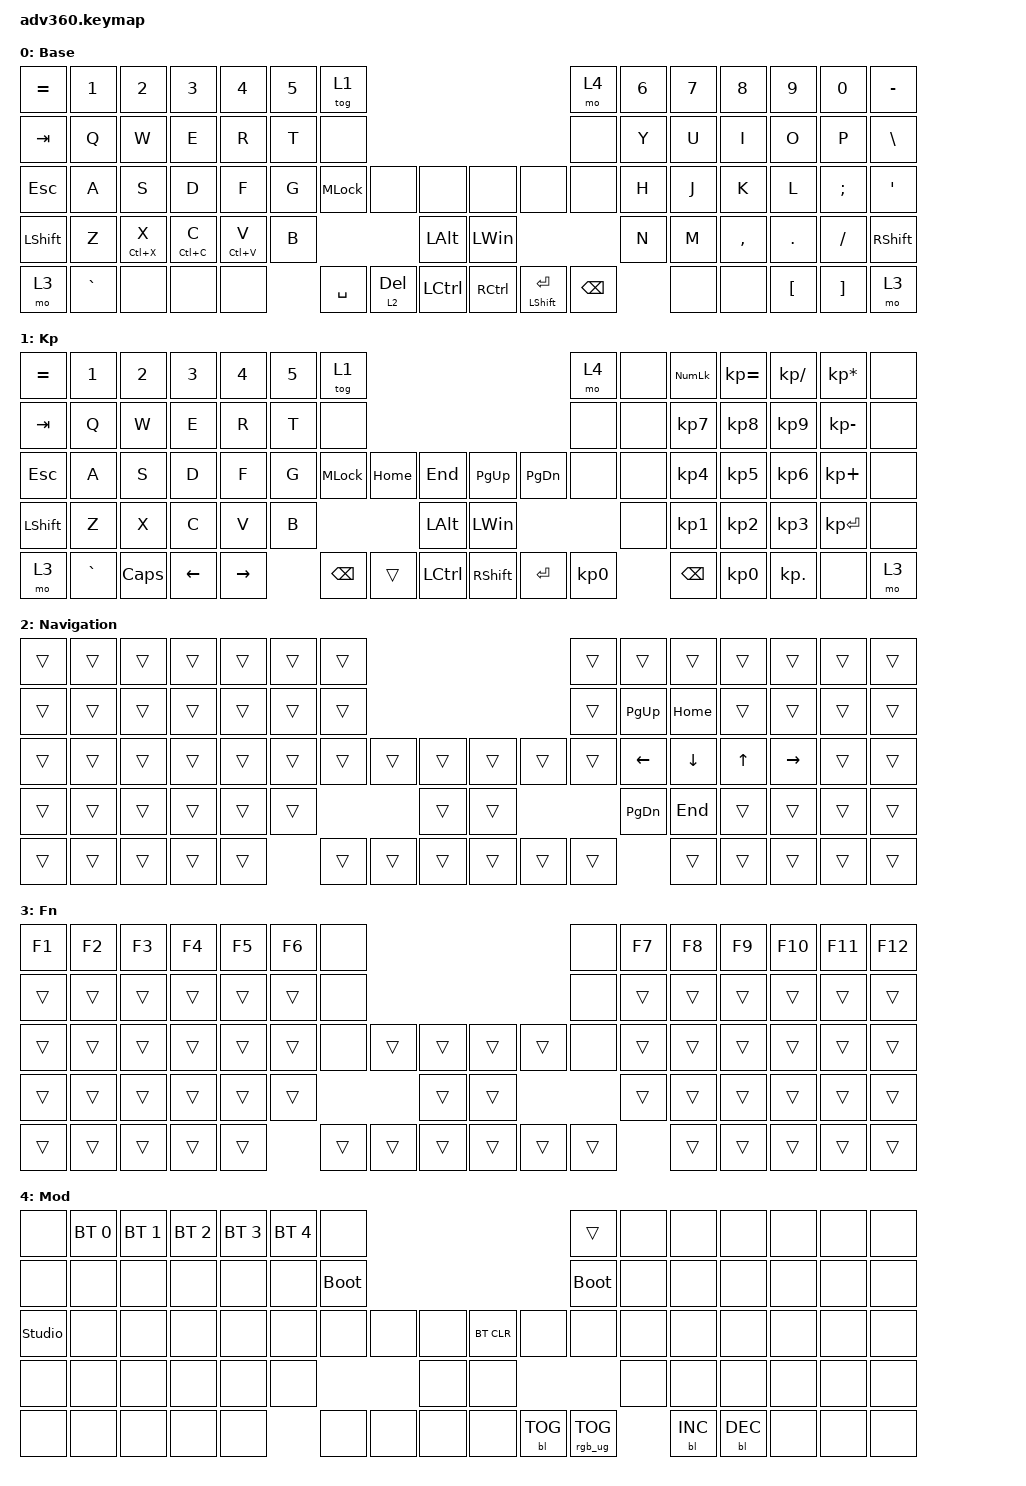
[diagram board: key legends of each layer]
#include <dt-bindings/zmk/stp.h>
#include <behaviors.dtsi>
#include <dt-bindings/zmk/backlight.h>
#include <dt-bindings/zmk/bt.h>
#include <dt-bindings/zmk/keys.h>
#include <dt-bindings/zmk/rgb.h>

/ {
    behaviors {
        #include "macros.dtsi"
      #include "version.dtsi"

        hm: homerow_mods {
            compatible = "zmk,behavior-hold-tap";
            label = "HOMEROW_MODS";
            #binding-cells = <2>;
            tapping-term-ms = <200>;
            quick_tap_ms = <175>;
            flavor = "tap-preferred";
            bindings = <&kp>, <&kp>;
        };
    };

    macros {
        MLock: Lock {
            compatible = "zmk,behavior-macro";
            #binding-cells = <0>;
            bindings =
                <&macro_press>,
                <&kp LWIN &kp LEFT_SHIFT &kp Z>,
                <&macro_release>,
                <&kp LEFT_WIN &kp LEFT_SHIFT &kp Z>;

            label = "LOCK";
        };
    };

    keymap {
        compatible = "zmk,keymap";

        default_layer {
            display-name = "Base";
            bindings = <
&kp EQUAL   &kp N1     &kp N2       &kp N3       &kp N4       &kp N5  &tog 1                                                                      &mo 4          &kp N6  &kp N7  &kp N8     &kp N9    &kp N0    &kp MINUS
&kp TAB     &kp Q      &kp W        &kp E        &kp R        &kp T   &none                                                                       &none          &kp Y   &kp U   &kp I      &kp O     &kp P     &kp BSLH
&kp ESC     &kp A      &kp S        &kp D        &kp F        &kp G   &MLock     &none         &none             &none      &none                 &none          &kp H   &kp J   &kp K      &kp L     &kp SEMI  &kp SQT
&kp LSHIFT  &kp Z      &hm LC(X) X  &hm LC(C) C  &hm LC(V) V  &kp B                            &kp LEFT_ALT      &kp LWIN                                        &kp N   &kp M   &kp COMMA  &kp DOT   &kp FSLH  &kp RSHIFT
&mo 3       &kp GRAVE  &none        &none        &none                &kp SPACE  &lt 2 DELETE  &kp LCTRL         &kp RCTRL  &mt LEFT_SHIFT ENTER  &kp BACKSPACE          &none   &none      &kp LBKT  &kp RBKT  &mo 3
            >;
        };

        keypad {
            display-name = "Kp";
            bindings = <
&kp EQUAL  &kp N1     &kp N2    &kp N3    &kp N4     &kp N5  &tog 1                                                           &mo 4      &none  &kp KP_NUM     &kp KP_EQUAL  &kp KP_DIVIDE  &kp KP_MULTIPLY  &none
&kp TAB    &kp Q      &kp W     &kp E     &kp R      &kp T   &none                                                            &none      &none  &kp KP_N7      &kp KP_N8     &kp KP_N9      &kp KP_MINUS     &none
&kp ESC    &kp A      &kp S     &kp D     &kp F      &kp G   &MLock    &kp HOME  &kp END           &kp PG_UP   &kp PAGE_DOWN  &none      &none  &kp KP_N4      &kp KP_N5     &kp KP_N6      &kp KP_PLUS      &none
&kp LSHFT  &kp Z      &kp X     &kp C     &kp V      &kp B                       &kp LEFT_ALT      &kp LWIN                              &none  &kp KP_N1      &kp KP_N2     &kp KP_N3      &kp KP_ENTER     &none
&mo 3      &kp GRAVE  &kp CAPS  &kp LEFT  &kp RIGHT          &kp BSPC  &trans    &kp LCTRL         &kp RSHIFT  &kp ENTER      &kp KP_N0         &kp BACKSPACE  &kp KP_N0     &kp KP_DOT     &none            &mo 3
            >;
        };

        Navigation {
            bindings = <
&trans  &trans  &trans  &trans  &trans  &trans  &trans                                      &trans  &trans          &trans          &trans        &trans           &trans  &trans
&trans  &trans  &trans  &trans  &trans  &trans  &trans                                      &trans  &kp PAGE_UP     &kp HOME        &trans        &trans           &trans  &trans
&trans  &trans  &trans  &trans  &trans  &trans  &trans  &trans  &trans      &trans  &trans  &trans  &kp LEFT_ARROW  &kp DOWN_ARROW  &kp UP_ARROW  &kp RIGHT_ARROW  &trans  &trans
&trans  &trans  &trans  &trans  &trans  &trans                  &trans      &trans                  &kp PAGE_DOWN   &kp END         &trans        &trans           &trans  &trans
&trans  &trans  &trans  &trans  &trans          &trans  &trans  &trans      &trans  &trans  &trans                  &trans          &trans        &trans           &trans  &trans
            >;
        };

        fn {
            display-name = "Fn";
            bindings = <
&kp F1  &kp F2  &kp F3  &kp F4  &kp F5  &kp F6  &none                                       &none   &kp F7  &kp F8  &kp F9  &kp F10  &kp F11  &kp F12
&trans  &trans  &trans  &trans  &trans  &trans  &none                                       &none   &trans  &trans  &trans  &trans   &trans   &trans
&trans  &trans  &trans  &trans  &trans  &trans  &none   &trans  &trans      &trans  &trans  &none   &trans  &trans  &trans  &trans   &trans   &trans
&trans  &trans  &trans  &trans  &trans  &trans                  &trans      &trans                  &trans  &trans  &trans  &trans   &trans   &trans
&trans  &trans  &trans  &trans  &trans          &trans  &trans  &trans      &trans  &trans  &trans          &trans  &trans  &trans   &trans   &trans
            >;
        };

        mod {
            display-name = "Mod";
            bindings = <
&none           &bt BT_SEL 0  &bt BT_SEL 1  &bt BT_SEL 2  &bt BT_SEL 3  &bt BT_SEL 4  &none                                                  &trans           &none  &none       &none       &none  &none  &none
&none           &none         &none         &none         &none         &none         &bootloader                                            &bootloader      &none  &none       &none       &none  &none  &none
&studio_unlock  &none         &none         &none         &none         &none         &none        &none  &none      &bt BT_CLR  &none       &none            &none  &none       &none       &none  &none  &none
&none           &none         &none         &none         &none         &none                             &none      &none                                    &none  &none       &none       &none  &none  &none
&none           &none         &none         &none         &none                       &none        &none  &none      &none       &bl BL_TOG  &rgb_ug RGB_TOG         &bl BL_INC  &bl BL_DEC  &none  &none  &none
            >;
        };
    };
};
